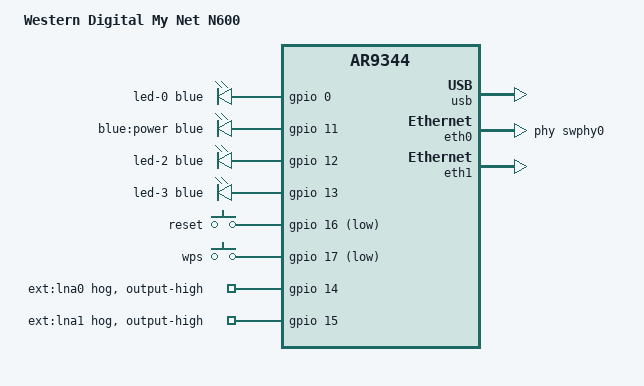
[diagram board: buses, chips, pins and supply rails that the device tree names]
// SPDX-License-Identifier: GPL-2.0-or-later OR MIT

#include "ar9344_wd_mynet-nxxx.dtsi"
#include <dt-bindings/leds/common.h>

/ {
	model = "Western Digital My Net N600";
	compatible = "wd,mynet-n600", "qca,ar9344";

	aliases {
		led-boot = &led_power;
		led-failsafe = &led_power;
		led-running = &led_power;
		led-upgrade = &led_power;
	};

	leds {
		compatible = "gpio-leds";

		led-0 {
                        color = <LED_COLOR_ID_BLUE>;
                        function = LED_FUNCTION_WLAN;
			gpios = <&gpio 0 GPIO_ACTIVE_HIGH>;
		};

		led_power: led-1 {
			label = "blue:power";
                        color = <LED_COLOR_ID_BLUE>;
                        function = LED_FUNCTION_POWER;
			gpios = <&gpio 11 GPIO_ACTIVE_HIGH>;
		};

		led-2 {
                        color = <LED_COLOR_ID_BLUE>;
                        function = LED_FUNCTION_WAN;
			gpios = <&gpio 12 GPIO_ACTIVE_HIGH>;
		};

		led-3 {
                        color = <LED_COLOR_ID_BLUE>;
                        function = LED_FUNCTION_WPS;
			gpios = <&gpio 13 GPIO_ACTIVE_HIGH>;
		};
	};

	keys {
		compatible = "gpio-keys";

		reset {
			linux,code = <KEY_RESTART>;
			gpios = <&gpio 16 GPIO_ACTIVE_LOW>;
		};

		wps {
			linux,code = <KEY_WPS_BUTTON>;
			gpios = <&gpio 17 GPIO_ACTIVE_LOW>;
		};
	};
};

&gpio {
	gpio_ext_lna0 {
		gpio-hog;
		gpios = <14 0>;
		output-high;
		line-name = "ext:lna0";
	};

	gpio_ext_lna1 {
		gpio-hog;
		gpios = <15 0>;
		output-high;
		line-name = "ext:lna1";
	};
};

&pinmux {
	pmx_led_switch: pinmux_led_switch {
		pinctrl-single,bits =
			<0x0 0x2c2b2a00 0xffffff00>, /* GPIO1-3 default to PHY2-4 */
			<0x4 0x00000029 0x000000ff>; /* GPIO4 default to PHY1 */
	};
};

&builtin_switch {
	pinctrl-names = "default";
	pinctrl-0 = <&pmx_led_switch>;
};

&usb {
	status = "okay";
};

&eth0 {
	status = "okay";

	phy-handle = <&swphy0>;

	gmac-config {
		device = <&gmac>;
		switch-phy-swap = <1>;
		switch-only-mode = <1>;
	};
};

&eth1 {
	status = "okay";
};
